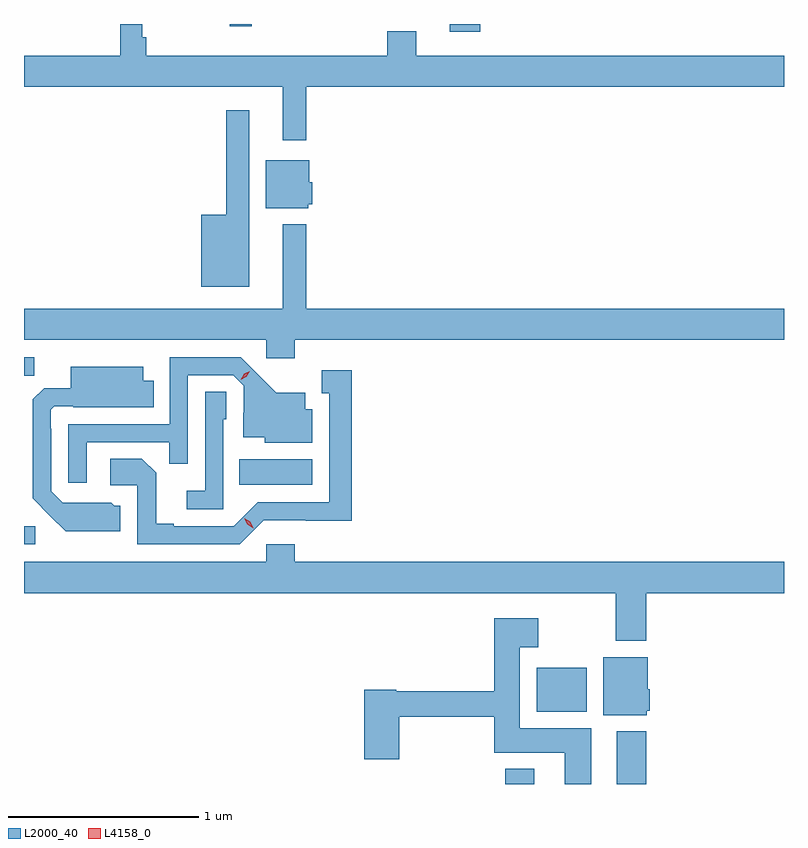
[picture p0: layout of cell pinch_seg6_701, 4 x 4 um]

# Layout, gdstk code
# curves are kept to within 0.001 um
import gdstk
lib = gdstk.Library(unit=1e-6, precision=1e-09)
def R(c, l, rs):  # rectangles x0, y0, x1, y1
    for r in rs: c.add(gdstk.rectangle(r[:2], r[2:], *l))
def P(c, l, *ps):  # polygons
    for p in ps: c.add(gdstk.Polygon(p, *l))
L2000_40 = (2000, 40)
L4158_0 = (4158, 0)

pinch_seg6_701 = lib.new_cell('pinch_seg6_701')
R(pinch_seg6_701, L2000_40, [(624.725,946.331,624.877,946.411), (625.313,946.331,625.466,946.609), (624.89,946.712,625.153,946.942), (622.192,947.592,622.252,947.688), (623.326,947.906,623.71,948.04), (622.192,948.481,622.245,948.576), (624.434,950.289,624.593,950.331), (623.274,950.319,623.39,950.331)])
P(pinch_seg6_701, L2000_40, [(623.677,950),(626.192,950),(626.192,950.164),(624.256,950.164),(624.256,950.294),(624.104,950.294),(624.104,950.164),(622.835,950.164),(622.835,950.26),(622.815,950.26),(622.815,950.331),(622.699,950.331),(622.699,950.164),(622.192,950.164),(622.192,950),(623.555,950),(623.555,949.719),(623.677,949.719)],
  [(623.377,949.876),(623.256,949.876),(623.256,949.327),(623.126,949.327),(623.126,948.947),(623.377,948.947)],
  [(623.688,949.383),(623.71,949.383),(623.71,949.497),(623.692,949.497),(623.692,949.615),(623.465,949.615),(623.465,949.361),(623.688,949.361)],
  [(623.618,948.668),(626.192,948.668),(626.192,948.832),(623.677,948.832),(623.677,949.276),(623.555,949.276),(623.555,948.832),(622.192,948.832),(622.192,948.668),(623.466,948.668),(623.466,948.573),(623.618,948.573)],
  [(622.521,948.129),(622.957,948.129),(622.957,948.016),(623.055,948.016),(623.055,948.483),(623.292,948.483),(623.349,948.426),(623.349,948.284),(623.345,948.284),(623.345,948.155),(623.46,948.155),(623.46,948.128),(623.71,948.128),(623.71,948.304),(623.671,948.304),(623.671,948.391),(623.519,948.391),(623.332,948.576),(622.959,948.576),(622.959,948.225),(622.425,948.225),(622.425,947.916),(622.521,947.916)],
  [(622.699,947.796),(622.668,947.796),(622.652,947.812),(622.395,947.811),(622.335,947.871),(622.335,948.2),(622.332,948.2),(622.332,948.3),(622.35,948.318),(622.45,948.318),(622.45,948.314),(622.874,948.314),(622.874,948.454),(622.819,948.454),(622.819,948.526),(622.439,948.526),(622.439,948.415),(622.298,948.415),(622.239,948.356),(622.239,947.834),(622.411,947.66),(622.699,947.66)],
  [(623.454,947.718),(623.917,947.717),(623.917,948.508),(623.759,948.508),(623.759,948.387),(623.798,948.387),(623.798,947.814),(623.421,947.814),(623.295,947.688),(622.981,947.688),(622.981,947.701),(622.887,947.701),(622.887,947.968),(622.811,948.044),(622.647,948.044),(622.647,947.904),(622.788,947.904),(622.788,947.592),(623.328,947.592)],
  [(623.241,948.252),(623.256,948.252),(623.256,948.395),(623.145,948.395),(623.145,947.875),(623.049,947.875),(623.049,947.778),(623.241,947.778)],
  [(625.466,947.336),(626.192,947.336),(626.192,947.5),(623.618,947.5),(623.618,947.593),(623.466,947.593),(623.466,947.5),(622.192,947.5),(622.192,947.336),(625.306,947.336),(625.306,947.084),(625.466,947.084)],
  [(625.177,946.624),(624.802,946.624),(624.802,947.051),(624.898,947.051),(624.898,947.203),(624.668,947.203),(624.668,946.82),(624.15,946.82),(624.15,946.828),(623.984,946.828),(623.984,946.461),(624.167,946.461),(624.167,946.684),(624.668,946.684),(624.668,946.496),(625.037,946.496),(625.037,946.331),(625.177,946.331)],
  [(625.47,946.716),(625.486,946.716),(625.486,946.83),(625.474,946.83),(625.474,946.999),(625.241,946.999),(625.241,946.694),(625.47,946.694)])
P(pinch_seg6_701, L4158_0, [(623.398,947.677),(623.367,947.697),(623.351,947.73),(623.351,947.73),(623.351,947.73),(623.382,947.71),(623.399,947.678),(623.399,947.677)],
  [(623.332,948.459),(623.332,948.459),(623.35,948.489),(623.381,948.504),(623.381,948.504),(623.381,948.504),(623.363,948.474),(623.332,948.459)])

lib.write_gds('pinch_seg6_701.gds')
